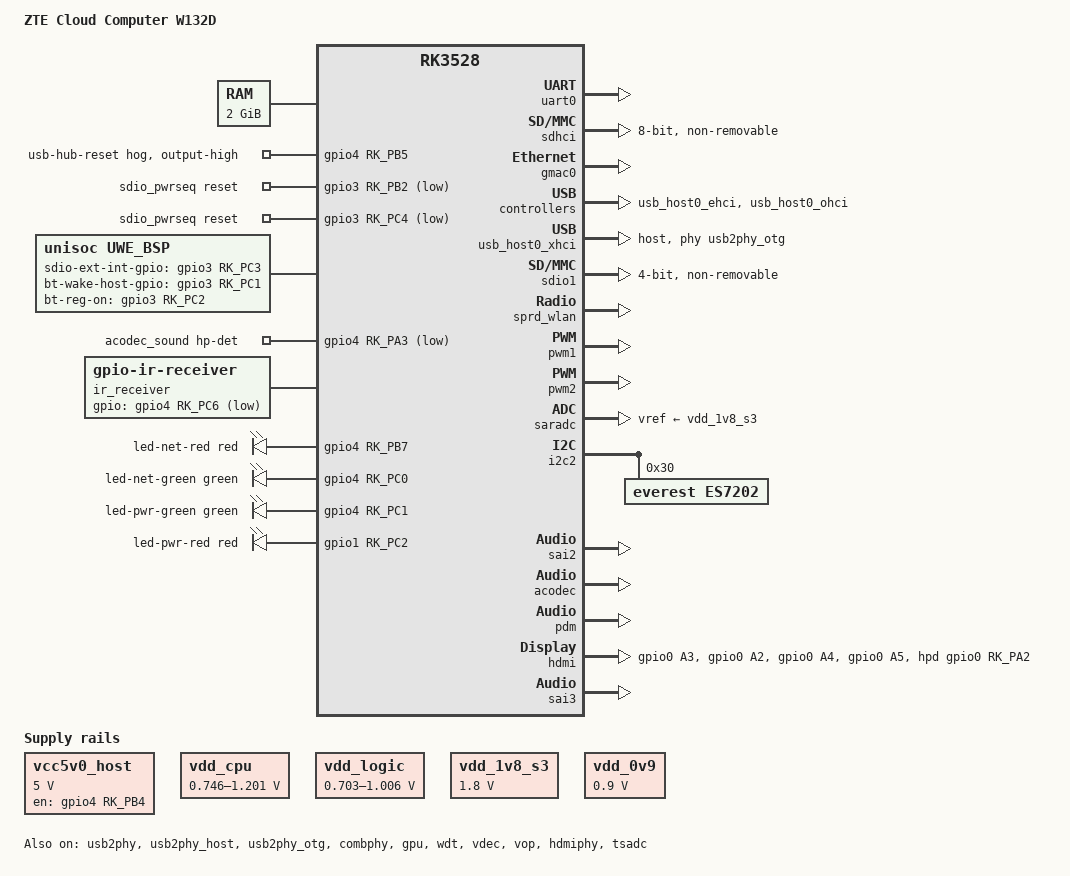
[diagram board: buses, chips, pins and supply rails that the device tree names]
// SPDX-License-Identifier: (GPL-2.0+ OR MIT)
/dts-v1/;

#include "rk3528-w132d-soc.dtsi"
#include <dt-bindings/gpio/gpio.h>
#include <dt-bindings/leds/common.h>
#include <dt-bindings/phy/phy.h>
#include <dt-bindings/soc/rockchip,vop2.h>
#include <dt-bindings/thermal/thermal.h>

/ {
	model = "ZTE Cloud Computer W132D";
	compatible = "zte,w132d", "rockchip,rk3528";
	aliases {
		ethernet0 = &gmac0;
		mmc0 = &sdhci;
		serial0 = &uart0;
	};

	chosen {
		stdout-path = "serial0:115200n8";
	};

	memory@0 {
		device_type = "memory";
		reg = <0x0 0x0 0x0 0x80000000>;
	};

	vcc5v0_host: regulator-5v0-host {
		compatible = "regulator-fixed";
		regulator-name = "vcc5v0_host";
		regulator-min-microvolt = <5000000>;
		regulator-max-microvolt = <5000000>;
		regulator-boot-on;
		regulator-always-on;
		enable-active-high;
		gpios = <&gpio4 RK_PB4 GPIO_ACTIVE_HIGH>;
	};
};

/* GM8220S USB2 hub reset is active-low; hold it deasserted. */
&gpio4 {
	usb_hub_reset_hog: usb-hub-reset-hog {
		gpio-hog;
		gpios = <RK_PB5 GPIO_ACTIVE_HIGH>;
		output-high;
		line-name = "usb-hub-reset";
	};
};

&uart0 {
	pinctrl-names = "default";
	pinctrl-0 = <&uart0m0_xfer>;
	status = "okay";
};

&sdhci {
	bus-width = <8>;
	cap-mmc-highspeed;
	/*
	 * HS400 needs the RK3528 DLL tap values added by
	 * the maintained MMC patch.  Without that patch the driver
	 * falls back to the RK3588 taps (10/8/4) and the eMMC does not enumerate.
	 */
	max-frequency = <200000000>;
	mmc-hs200-1_8v;
	mmc-hs400-1_8v;
	mmc-hs400-enhanced-strobe;
	/*
	 * Deliberately no fixed-emmc-driver-type: the vendor reference board uses
	 * type 4, but the 07S000 part fitted here rejects it and the MMC
	 * core falls back to type B anyway.
	 */
	no-sd;
	no-sdio;
	non-removable;
	status = "okay";
};

&gmac0 {
	clock_in_out = "input";
	status = "okay";
};

/* Use the upstream-style RK3528 USB2 PHY and DWC3 nodes. */
&usb2phy {
	status = "okay";
};

&usb2phy_host {
	phy-supply = <&vcc5v0_host>;
	status = "okay";
};

&usb2phy_otg {
	phy-supply = <&vcc5v0_host>;
	status = "okay";
};

&usb_host0_ehci {
	status = "okay";
};

&usb_host0_ohci {
	status = "okay";
};

&combphy {
	status = "okay";
};

&usb_host0_xhci {
	dr_mode = "host";
	phys = <&usb2phy_otg>, <&combphy PHY_TYPE_USB3>;
	phy-names = "usb2-phy", "usb3-phy";
	maximum-speed = "super-speed";
	status = "okay";
};
/* W132D UWE5621DS uses the maintained WCN SDIO transport. */
&sdio1 {
	bus-width = <4>;
	cap-sdio-irq;
	non-removable;
	max-frequency = <50000000>;
	status = "okay";
};

&{/} {
	sdio_pwrseq: sdio-pwrseq {
		compatible = "mmc-pwrseq-simple";
		/* Linux 7.1.10's simple pwrseq treats a single reset GPIO as a
		 * reset-controller candidate. Keep both board WCN control lines in
		 * the GPIO array so it uses the intended GPIO fallback path. */
		reset-gpios = <&gpio3 RK_PB2 GPIO_ACTIVE_LOW>,
			      <&gpio3 RK_PC4 GPIO_ACTIVE_LOW>;
		post-power-on-delay-ms = <100>;
		status = "okay";
	};

	/* The vendor module's platform drivers use these names. */
	uwe_bsp: uwe-bsp {
		compatible = "unisoc,uwe_bsp";
		sdhci-name = <&sdio1>;
		sdio-ext-int-gpio-gpios = <&gpio3 RK_PC3 GPIO_ACTIVE_HIGH>;
		bt-wake-host;
		bt-wake-host-gpio-gpios = <&gpio3 RK_PC1 GPIO_ACTIVE_HIGH>;
		bt-reg-on-gpios = <&gpio3 RK_PC2 GPIO_ACTIVE_HIGH>;
		/*
		 * Marlin3E firmware: MARLIN3E_20A_W23.03.2 as published in CoreELEC's
		 * uwe5631-aml repository (BSP/fw/wcnmodem.bin); the board package
		 * installs it under this name. Armbian's wcnmodem-38222.bin (W21.03.3)
		 * scans fine but its CP2 asserts as soon as it associates, and the
		 * bare wcnmodem.bin next to it is the Marlin3 Lite (SC2355) image,
		 * which does not fit this chip (id 0x56630001).
		 */
		unisoc,btwf-file-name = "/lib/firmware/uwe5622/wcnmodem-marlin3e.bin";
		data-irq;
		blksz-512;
		keep-power-on;
		status = "okay";
	};

	sprd_wlan: sprd-wlan {
		compatible = "sprd,unisoc-wifi";
		status = "okay";
	};

	mtty {
		compatible = "sprd,mtty";
		sprd,name = "ttyBT";
		status = "okay";
	};
};

&sdio1 {
	mmc-pwrseq = <&sdio_pwrseq>;
};

&{/} {
	/*
	 * vdd_cpu drives the CPU rail from PWM1.
	 *
	 * pwm-dutycycle-range is mandatory here.  Mainline pwm-rockchip handles
	 * PWM_POLARITY_INVERSED in the opposite direction from the vendor kernel,
	 * so copying the vendor description verbatim maps a high voltage request
	 * onto a low duty cycle; the board then browns out at 2016 MHz.
	 *
	 * regulator-init-microvolt is deliberately absent: applying a voltage at
	 * probe time, before the mapping direction has been observed, is what
	 * bricked an earlier bring-up attempt.
	 */
	vdd_cpu: regulator-vdd-cpu {
		compatible = "pwm-regulator";
		pwms = <&pwm1 0 5000 1>;
		pwm-dutycycle-range = <100 0>;
		regulator-name = "vdd_cpu";
		regulator-min-microvolt = <746000>;
		regulator-max-microvolt = <1201000>;
		regulator-settling-time-up-us = <250>;
		regulator-always-on;
		regulator-boot-on;
	};
};

&pwm1 {
	status = "okay";
};

/*
 * The mainline opp-table-cpu starts at 1200 MHz.  This machine is idle over
 * 90% of the time, and the SCMI firmware itself reports 408 MHz as the lower
 * bound (clk_min_rate on scmi_clk_cpu), so add the four vendor low steps.
 *
 * All four use 875000 uV rather than the vendor 825000 uV base: the vendor
 * kernel picks a voltage from an nvmem leakage bin and raises everything at or
 * below 1200 MHz to 875000 uV anyway.  Mainline already uses 875000 uV at
 * 1200 MHz, so this reuses a value the tree already trusts.
 */
&cpu_opp_table {
	opp-408000000 {
		opp-hz = /bits/ 64 <408000000>;
		opp-microvolt = <875000 875000 1100000>;
		clock-latency-ns = <40000>;
	};

	opp-600000000 {
		opp-hz = /bits/ 64 <600000000>;
		opp-microvolt = <875000 875000 1100000>;
		clock-latency-ns = <40000>;
	};

	opp-816000000 {
		opp-hz = /bits/ 64 <816000000>;
		opp-microvolt = <875000 875000 1100000>;
		clock-latency-ns = <40000>;
	};

	opp-1008000000 {
		opp-hz = /bits/ 64 <1008000000>;
		opp-microvolt = <875000 875000 1100000>;
		clock-latency-ns = <40000>;
	};
};

&cpu0 {
	cpu-supply = <&vdd_cpu>;
	#cooling-cells = <2>;
	dynamic-power-coefficient = <147>;
};

&cpu1 {
	cpu-supply = <&vdd_cpu>;
	#cooling-cells = <2>;
	dynamic-power-coefficient = <147>;
};

&cpu2 {
	cpu-supply = <&vdd_cpu>;
	#cooling-cells = <2>;
	dynamic-power-coefficient = <147>;
};

&cpu3 {
	cpu-supply = <&vdd_cpu>;
	#cooling-cells = <2>;
	dynamic-power-coefficient = <147>;
};

/*
 * Three trips: 95 C and 110 C passive, 120 C critical.  Only the 110 C trip
 * throttles the CPU; the 95 C one is left for the GPU to use first, so the
 * GPU gives up headroom before the CPU does.  Measured peak with four CPUs
 * loaded is 58 C, so this never fires in normal use.
 */
&{/} {
	thermal-zones {
		soc_thermal: soc-thermal {
			polling-delay-passive = <20>;
			polling-delay = <1000>;
			thermal-sensors = <&tsadc 0>;

			trips {
				soc_alert0: trip-point-0 {
					temperature = <95000>;
					hysteresis = <2000>;
					type = "passive";
				};

				soc_alert1: trip-point-1 {
					temperature = <110000>;
					hysteresis = <2000>;
					type = "passive";
				};

				soc-crit {
					temperature = <120000>;
					hysteresis = <2000>;
					type = "critical";
				};
			};

			cooling-maps {
				map0 {
					trip = <&soc_alert1>;
					cooling-device = <&cpu0 THERMAL_NO_LIMIT THERMAL_NO_LIMIT>;
					contribution = <1024>;
				};
			};
		};
	};
};

&{/} {
	/*
	 * vdd_logic supplies the GPU rail from PWM2.  Without it the rail stays
	 * at the 703 mV left by U-Boot and lima refuses to probe with
	 * "no regulator (mali) found"; the 700/800 MHz OPPs would be undervolted.
	 */
	vdd_logic: regulator-vdd-logic {
		compatible = "pwm-regulator";
		pwms = <&pwm2 0 5000 1>;
		pwm-dutycycle-range = <100 0>;
		regulator-name = "vdd_logic";
		regulator-min-microvolt = <703000>;
		regulator-max-microvolt = <1006000>;
		regulator-settling-time-up-us = <250>;
		regulator-always-on;
		regulator-boot-on;
	};
};

&pwm2 {
	status = "okay";
};

/*
 * Mali-450 needs no driver change - mainline lima already matches
 * "arm,mali-450" - only the rail and the enable.  With vdd_logic connected all
 * five OPPs (300/500/600/700/800 MHz) run; 800 MHz peaks at 57 C against a
 * 95 C trip.
 */
&gpu {
	mali-supply = <&vdd_logic>;
	#cooling-cells = <2>;
	status = "okay";
};

/*
 * Hang the GPU off the 95 C trip that the SoC zone leaves free, so a GPU
 * downclock - unnoticeable on this headless machine - happens before the CPU
 * is throttled at 110 C.  The GPU peaks at 57 C at 800 MHz, so this is
 * configuration completeness rather than a fix for an observed problem.
 */
&soc_thermal {
	cooling-maps {
		map1 {
			trip = <&soc_alert0>;
			cooling-device = <&gpu THERMAL_NO_LIMIT THERMAL_NO_LIMIT>;
			contribution = <1024>;
		};
	};
};

&{/} {
	/* SARADC reference; channel 2 distinguishes headphone from headset. */
	vdd_1v8_s3: regulator-vdd-1v8-s3 {
		compatible = "regulator-fixed";
		regulator-name = "vdd_1v8_s3";
		regulator-min-microvolt = <1800000>;
		regulator-max-microvolt = <1800000>;
		regulator-always-on;
		regulator-boot-on;
	};

	/*
	 * Playback: SAI2 -> on-chip ACODEC (DAC only) -> LINEOUT -> 3.5 mm jack.
	 * The vendor rockchip,multicodecs-card has no mainline equivalent;
	 * simple-audio-card covers everything this path needs.
	 */
	acodec_sound: acodec-sound {
		compatible = "simple-audio-card";
		simple-audio-card,name = "rk3528-acodec";
		simple-audio-card,format = "i2s";
		simple-audio-card,mclk-fs = <256>;
		simple-audio-card,bitclock-master = <&acodec_sound_cpu>;
		simple-audio-card,frame-master = <&acodec_sound_cpu>;
		simple-audio-card,hp-det-gpios = <&gpio4 RK_PA3 GPIO_ACTIVE_LOW>;
		simple-audio-card,widgets = "Headphone", "Headphones";
		pinctrl-names = "default";
		pinctrl-0 = <&hp_det>;

		acodec_sound_cpu: simple-audio-card,cpu {
			sound-dai = <&sai2>;
		};

		simple-audio-card,codec {
			sound-dai = <&acodec>;
		};
	};

	/*
	 * Capture: ES7202 analog-to-PDM bridge -> PDM SDI2.  PDM is a
	 * unidirectional data line, so this card carries no format/mclk-fs.
	 */
	es7202_sound: es7202-sound {
		compatible = "simple-audio-card";
		simple-audio-card,name = "rockchip,pdm-mic-array";

		simple-audio-card,cpu {
			sound-dai = <&pdm>;
		};

		simple-audio-card,codec {
			sound-dai = <&es7202>;
		};
	};
};

&saradc {
	vref-supply = <&vdd_1v8_s3>;
	status = "okay";
};

&i2c2 {
	status = "okay";

	/* W132D has one two-channel ES7202 ADC. */
	es7202: es7202@30 {
		compatible = "everest,es7202";
		reg = <0x30>;
		#sound-dai-cells = <0>;
		status = "okay";
	};
};

&pinctrl {
	headphone {
		/*
		 * GPIO4_A3 has no external pull-up, so without the internal one
		 * the detect line reads low forever and a headphone always looks
		 * inserted.  The vendor hp-det group uses pcfg_pull_up too.
		 */
		hp_det: hp-det {
			rockchip,pins = <4 RK_PA3 0 &pcfg_pull_up>;
		};
	};
};

&pinctrl {
	hdmi {
		/*
		 * The SoC hdmi_pins group muxes GPIO0_A2 to the controller's HPD
		 * function, but the RK3528 controller cannot sense hot-plug on
		 * that pad: the driver reads it as a GPIO and mirrors the level
		 * into the VO GRF, so the pin has to stay a GPIO.
		 */
		hdmi_gpio_hpd_pins: hdmi-gpio-hpd-pins {
			rockchip,pins =
				<0 RK_PA3 1 &pcfg_pull_none>,
				<0 RK_PA2 0 &pcfg_pull_none>,
				<0 RK_PA4 1 &pcfg_pull_none>,
				<0 RK_PA5 1 &pcfg_pull_none>;
		};
	};
};

&{/} {
	display_subsystem: display-subsystem {
		compatible = "rockchip,display-subsystem";
		ports = <&vop_out>;
	};

	/* SoC analog rail for the HDMI PHY and controller; never switched. */
	vdd_0v9: regulator-vdd-0v9 {
		compatible = "regulator-fixed";
		regulator-name = "vdd_0v9";
		regulator-min-microvolt = <900000>;
		regulator-max-microvolt = <900000>;
		regulator-always-on;
		regulator-boot-on;
	};

	/*
	 * SAI3 is wired to the HDMI controller's I2S input, so it has no pins.
	 * The DesignWare HDMI I2S receiver needs a 64 x fs bit clock; the SAI
	 * would otherwise shrink the slot to the sample width and 16-bit audio
	 * goes silent, so pin the slots to 32 bits.
	 */
	hdmi_sound: hdmi-sound {
		compatible = "simple-audio-card";
		simple-audio-card,name = "HDMI";
		simple-audio-card,format = "i2s";
		simple-audio-card,mclk-fs = <256>;
		simple-audio-card,bitclock-master = <&hdmi_sound_cpu>;
		simple-audio-card,frame-master = <&hdmi_sound_cpu>;

		hdmi_sound_cpu: simple-audio-card,cpu {
			sound-dai = <&sai3>;
			dai-tdm-slot-num = <2>;
			dai-tdm-slot-width = <32>;
		};

		simple-audio-card,codec {
			sound-dai = <&hdmi>;
		};
	};
};

/*
 * Display path: VOP2 VP0 -> DesignWare HDMI -> Innosilicon HDMI 2.0 PHY.
 * VP1 (CVBS) is not described.  The PHY provides the pixel clock: the CRU
 * mux for DCLK_VOP0 is switched to it, so the VOP's rate requests end up in
 * the PHY's pre-PLL, the same way the RK3328 does it.
 *
 * No IOMMU on purpose.  The VOP IOMMU (0xff847e00) sits behind the VOP's
 * auto clock gating, which is enabled at reset: touching its registers before
 * the VOP driver has cleared SYS_AUTO_GATING_CTRL hangs the bus, and the
 * IOMMU is resumed through its device link before that driver runs.  The
 * vendor kernel avoids the same trap with a non-standard "disable device
 * link resume" property.  Scanout buffers come from CMA instead.
 */

&{/} {
	/*
	 * The vendor DTB drives the IR receiver with rockchip,remotectl-pwm,
	 * which captures pulse widths in PWM3 hardware.  Mainline has neither
	 * that driver nor capture support in pwm-rockchip, so the same pin is
	 * muxed back to plain GPIO and decoded by gpio-ir-receiver.  pwm3 must
	 * stay disabled for the pin to be free.
	 *
	 * No wakeup-source: this board only ever does software standby, so the
	 * pin never participates in a hardware suspend/resume path.
	 */
	ir_receiver: ir-receiver {
		compatible = "gpio-ir-receiver";
		gpios = <&gpio4 RK_PC6 GPIO_ACTIVE_LOW>;
		status = "okay";
	};
};

&{/} {
	/*
	 * Panel indicators.  Do not use the legacy "label" property here:
	 * leds-gpio only passes an fwnode to the LED core when a child has no
	 * label, and led-class only reads linux,default-trigger from that
	 * fwnode - with a label every trigger silently ends up as [none].
	 */
	leds {
		compatible = "gpio-leds";

		led-net-red {
			color = <LED_COLOR_ID_RED>;
			function = LED_FUNCTION_LAN;
			gpios = <&gpio4 RK_PB7 GPIO_ACTIVE_HIGH>;
			default-state = "off";
			linux,default-trigger = "none";
		};

		led-net-green {
			color = <LED_COLOR_ID_GREEN>;
			function = LED_FUNCTION_LAN;
			gpios = <&gpio4 RK_PC0 GPIO_ACTIVE_HIGH>;
			default-state = "off";
			linux,default-trigger = "none";
		};

		led-pwr-green {
			color = <LED_COLOR_ID_GREEN>;
			function = LED_FUNCTION_POWER;
			gpios = <&gpio4 RK_PC1 GPIO_ACTIVE_HIGH>;
			default-state = "off";
			linux,default-trigger = "none";
		};

		led-pwr-red {
			color = <LED_COLOR_ID_RED>;
			function = LED_FUNCTION_POWER;
			gpios = <&gpio1 RK_PC2 GPIO_ACTIVE_HIGH>;
			default-state = "on";
			linux,default-trigger = "none";
		};
	};
};

&{/firmware} {
	/*
	 * OP-TEE is already running: our U-Boot FIT loads it at 0x08400000, and
	 * U-Boot removes that range from /memory before entering Linux, so the
	 * kernel never maps it.  Only the DT node was missing, which is why
	 * /dev/tee0 never appeared.
	 */
	optee {
		compatible = "linaro,optee-tz";
		method = "smc";
	};
};

&{/reserved-memory} {
	/*
	 * Crash log storage that survives a warm reset - it is ordinary DRAM in
	 * the firmware-reserved low 2 MB that neither Linux nor the TPL touches.
	 * It does not survive a power cycle.
	 *
	 * 0x110000..0x1effff is free: the ATF images end at 0xa2f71 and the SCMI
	 * shmem sits at 0x10f000+0x100.
	 *
	 * record-size and console-size must be powers of two; ramoops rounds
	 * anything else down without a diagnostic.
	 */
	ramoops@110000 {
		compatible = "ramoops";
		reg = <0x0 0x110000 0x0 0xe0000>;
		record-size = <0x10000>;
		console-size = <0x40000>;
		pmsg-size = <0x0>;
		ftrace-size = <0x0>;
		/* KMSG_DUMP_EMERG, so emergency_restart() is captured too. */
		max-reason = <3>;
	};
};

&wdt {
	status = "okay";
};

&vdec_mmu {
	status = "okay";
};

&vdec {
	status = "okay";
};

&vdec_sram {
	status = "okay";
};

&sai2 {
	status = "okay";
};

&acodec {
	pa-ctl-gpios = <&gpio4 RK_PC3 GPIO_ACTIVE_HIGH>;
	status = "okay";
};

&pdm {
	pinctrl-names = "default";
	pinctrl-0 = <&pdm_clk1>, <&pdm_sdi2>;
	rockchip,path-map = <2 1 0 3>;
	status = "okay";
};

&vop {
	status = "okay";
};

&hdmi {
	avdd-0v9-supply = <&vdd_0v9>;
	avdd-1v8-supply = <&vdd_1v8_s3>;
	hpd-gpios = <&gpio0 RK_PA2 GPIO_ACTIVE_HIGH>;
	pinctrl-names = "default";
	pinctrl-0 = <&hdmi_gpio_hpd_pins>;
	status = "okay";
};

&hdmiphy {
	status = "okay";
};

&sai3 {
	status = "okay";
};

&tsadc {
	status = "okay";
};
